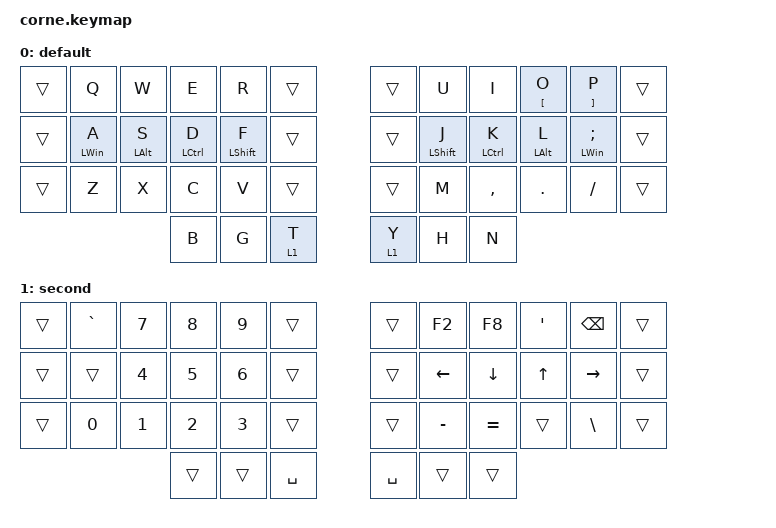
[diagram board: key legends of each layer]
/*
 * Copyright (c) 2020 The ZMK Contributors
 *
 * SPDX-License-Identifier: MIT
 */

#include <behaviors.dtsi>
#include <dt-bindings/zmk/keys.h>

&mt {
    hold-trigger-key-positions = <36 37 38 39 40 41>;
    hold-trigger-on-release;
    flavor = "tap-preferred";
    tapping-term-ms = <250>;
};

&lt { tapping-term-ms = <250>; };

/ {
    behaviors {
        tp: tap_preferred {
            compatible = "zmk,behavior-hold-tap";
            label = "TAP_PREFERRED";
            #binding-cells = <2>;
            tapping-term-ms = <150>;
            quick-tap-ms = <0>;
            flavor = "tap-preferred";
            bindings = <&kp>, <&kp>;
        };
    };

    combos {
        compatible = "zmk,combos";

        renter {
            bindings = <&kp ENTER>;
            key-positions = <40 41>;
        };

        lesc {
            bindings = <&kp ESCAPE>;
            key-positions = <1 2 3>;
        };

        r_esc {
            bindings = <&kp ESCAPE>;
            key-positions = <9 10 8>;
        };

        lenter {
            bindings = <&kp ENTER>;
            key-positions = <36 37>;
        };

        space {
            bindings = <&kp SPACE>;
            key-positions = <38 39>;
        };

        tab {
            bindings = <&kp TAB>;
            key-positions = <37 40>;
        };
    };

    macros {
        sv_cheats: sv_cheats {
            compatible = "zmk,behavior-macro";
            #binding-cells = <0>;
            bindings = <&kp S &kp V &kp UNDER &kp C &kp H &kp E &kp A &kp T &kp S &kp SPACE &kp N1>;
            label = "SV_CHEATS";
        };

        kill: kill {
            compatible = "zmk,behavior-macro";
            #binding-cells = <0>;
            bindings = <&kp K &kp I &kp L &kp L>;
            label = "KILL";
        };

        sv_autobunnyhopping_1: sv_autobunnyhopping_1 {
            compatible = "zmk,behavior-macro";
            #binding-cells = <0>;
            bindings = <&kp S &kp V &kp UNDER &kp A &kp U &kp T &kp O &kp B &kp U &kp N &kp N &kp Y &kp H &kp O &kp P &kp P &kp I &kp N &kp G &kp SPACE &kp N1>;
            label = "SV_AUTOBUNNYHOPPING_1";
        };

        sv_autobunnyhopping_0: sv_autobunnyhopping_0 {
            compatible = "zmk,behavior-macro";
            #binding-cells = <0>;
            bindings = <&kp S &kp V &kp UNDER &kp A &kp U &kp T &kp O &kp B &kp U &kp N &kp N &kp Y &kp H &kp O &kp P &kp P &kp I &kp N &kp G &kp SPACE &kp NUMBER_0>;
            label = "SV_AUTOBUNNYHOPPING_0";
        };
    };

    keymap {
        compatible = "zmk,keymap";

        default {
            // -----------------------------------------------------------------------------------------
            // | TAB  |  Q  |  W  |  E  |  R  |    T    |   |  Y  |  U   |  I  |  O  |  P  | ESC |
            // | CTRL |  A  |  S  |  D  |  F  |    G    |   |  H  |  J   |  K  |  L  |  ;  |  LWR/'   |
            // | SHFT |  Z  |  X  |  C  |  V  |    B    |   |  N  |  M   |  ,  |  .  |  /  | SHFT |
            //                    | GUI | LWR | ALT/ENT |   | HYPER/SPC | BKSP  | RSE |

            bindings = <
&trans  &kp Q           &kp W           &kp E               &kp R             &trans     &trans   &kp U             &kp I               &mt LEFT_BRACKET O  &mt RIGHT_BRACKET P     &trans
&trans  &mt LEFT_WIN A  &mt LEFT_ALT S  &mt LEFT_CONTROL D  &mt LEFT_SHIFT F  &trans     &trans   &mt LEFT_SHIFT J  &mt LEFT_CONTROL K  &mt LEFT_ALT L      &mt LEFT_WIN SEMICOLON  &trans
&trans  &kp Z           &kp X           &kp C               &kp V             &trans     &trans   &kp M             &kp COMMA           &kp DOT             &kp SLASH               &trans
                                        &kp B               &kp G             &lt 1 T    &lt 1 Y  &kp H             &kp N
            >;
        };

        second {
            bindings = <
&trans  &kp GRAVE     &kp NUMBER_7  &kp NUMBER_8  &kp NUMBER_9  &trans       &trans     &kp F2          &kp F8     &kp SQT       &kp BACKSPACE  &trans
&trans  &trans        &kp NUMBER_4  &kp NUMBER_5  &kp NUMBER_6  &trans       &trans     &kp LEFT_ARROW  &kp DOWN   &kp UP_ARROW  &kp RIGHT      &trans
&trans  &kp NUMBER_0  &kp NUMBER_1  &kp NUMBER_2  &kp NUMBER_3  &trans       &trans     &kp MINUS       &kp EQUAL  &trans        &kp BACKSLASH  &trans
                                    &trans        &trans        &kp SPACE    &kp SPACE  &trans          &trans
            >;
        };
    };

    conditional_layers { compatible = "zmk,conditional-layers"; };
};
